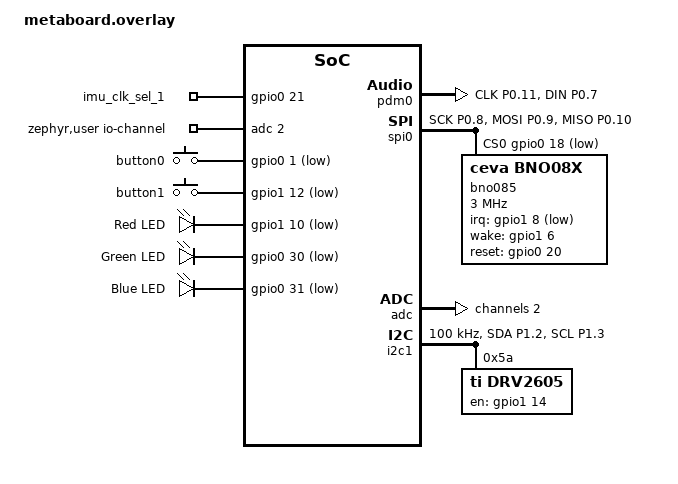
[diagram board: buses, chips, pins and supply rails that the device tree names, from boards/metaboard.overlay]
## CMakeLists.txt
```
#
# Copyright (c) 2018 Nordic Semiconductor
#
# SPDX-License-Identifier: LicenseRef-Nordic-5-Clause
#
cmake_minimum_required(VERSION 3.20.0)

list(APPEND ZEPHYR_EXTRA_MODULES
  ${CMAKE_CURRENT_SOURCE_DIR}/bno08x
  ${CMAKE_CURRENT_SOURCE_DIR}/drv2605
)

find_package(Zephyr REQUIRED HINTS $ENV{ZEPHYR_BASE})
project(metabow-firmware)

# NORDIC SDK APP START
target_sources(app PRIVATE
  src/main.c
  src/battery_monitor.c
  src/adpcm_codec.c
  src/drv2605.c
  src/haptic_cmd.c
)

# NORDIC SDK APP END
```

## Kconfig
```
#
# Copyright (c) 2018 Nordic Semiconductor
#
# SPDX-License-Identifier: LicenseRef-Nordic-5-Clause
#



source "Kconfig.zephyr"

menu "Nordic UART BLE GATT service sample"

config BT_NUS_THREAD_STACK_SIZE
	int "Thread stack size"
	default 1024
	help
	  Stack size used in each of the two threads

config BT_NUS_UART_BUFFER_SIZE
	int "UART payload buffer element size"
	default 40
	help
	  Size of the payload buffer in each RX and TX FIFO element

config BT_NUS_SECURITY_ENABLED
	bool "Enable security"
	default y
	select BT_SMP
	help
	  "Enable BLE security for the UART service"

config BT_NUS_UART_RX_WAIT_TIME
	int "Timeout for UART RX complete event"
	default 50000
	help
	  Wait for RX complete event time in microseconds

config BT_NUS_UART_ASYNC_ADAPTER
	bool "Enable UART async adapter"
	select SERIAL_SUPPORT_ASYNC
	help
	  Enables asynchronous adapter for UART drives that supports only
	  IRQ interface.

endmenu
```

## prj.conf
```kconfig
#
# Copyright (c) 2018 Nordic Semiconductor
#
# SPDX-License-Identifier: LicenseRef-Nordic-5-Clause
#

# Enable the UART driver
# CONFIG_UART_ASYNC_API=y
# CONFIG_NRFX_UARTE0=y
# CONFIG_SERIAL=y

# CONFIG_COMPILER_SAVE_TEMPS=y

# disable DCDC
CONFIG_BOARD_ENABLE_DCDC_APP=n
CONFIG_BOARD_ENABLE_DCDC_NET=n
CONFIG_BOARD_ENABLE_DCDC_HV=n

# Use internal 32k RC oscillator
CONFIG_CLOCK_CONTROL_NRF_K32SRC_RC=y



# I2C Bus & GPIO
CONFIG_I2C=y
CONFIG_I2C_NRFX=y
CONFIG_GPIO=y



CONFIG_SENSOR=y         # for testing on DK make this n
CONFIG_BNO08X=y         # for testing on DK make this n
CONFIG_PIPES=y          # for testing on DK make this n

# Audio
CONFIG_AUDIO=y          # for testing on DK make this n
CONFIG_AUDIO_DMIC=y     # for testing on DK make this n
CONFIG_AUDIO_DMIC_LOG_LEVEL_DBG=n

# Make sure printk is printing to the UART console
CONFIG_CONSOLE=y
CONFIG_UART_CONSOLE=y

CONFIG_THREAD_ANALYZER=n
CONFIG_THREAD_ANALYZER_USE_LOG=y
CONFIG_THREAD_ANALYZER_AUTO=y

CONFIG_LZ4=y
CONFIG_NEWLIB_LIBC=y

CONFIG_HEAP_MEM_POOL_SIZE=32768
CONFIG_BT_NUS_THREAD_STACK_SIZE=32768

CONFIG_BT=y
CONFIG_BT_RPMSG=y
CONFIG_BT_PERIPHERAL=y
CONFIG_BT_DEVICE_NAME="metabow"
CONFIG_BT_MAX_CONN=1
CONFIG_BT_MAX_PAIRED=1

CONFIG_BT_GAP_AUTO_UPDATE_CONN_PARAMS=n
#GATT_CLIENT needed for requesting ATT_MTU update
CONFIG_BT_GATT_CLIENT=y

# CONFIG_BT_CTLR_PHY_2M=y
# CONFIG_BT_CTLR_RX_BUFFERS=2
# CONFIG_BT_CTLR_DATA_LENGTH_MAX=170
# CONFIG_BT_BUF_ACL_RX_SIZE=176
# CONFIG_BT_BUF_ACL_TX_SIZE=176
# CONFIG_BT_L2CAP_TX_MTU=176
# CONFIG_BT_ATT_PREPARE_COUNT=2
# CONFIG_BT_L2CAP_TX_BUF_COUNT=10
# CONFIG_BT_L2CAP_DYNAMIC_CHANNEL=y
# CONFIG_BT_CONN_TX_MAX=10
# CONFIG_BT_BUF_ACL_TX_COUNT=10

# BLE Battery Service
CONFIG_BT_BAS=y
CONFIG_BT_BAS_LOG_LEVEL_DBG=y


CONFIG_BT_ATT_PREPARE_COUNT=4
CONFIG_BT_L2CAP_TX_BUF_COUNT=10
CONFIG_BT_L2CAP_TX_MTU=502
CONFIG_BT_L2CAP_DYNAMIC_CHANNEL=y
CONFIG_BT_CONN_TX_MAX=10
CONFIG_BT_BUF_ACL_TX_COUNT=10

CONFIG_BT_BUF_ACL_RX_SIZE=502
CONFIG_BT_BUF_ACL_TX_SIZE=502

#CONFIG_BT_CTLR_TX_PWR_DYNAMIC_CONTROL=y

# Enable the NUS service
CONFIG_BT_NUS=y

# Enable bonding
CONFIG_BT_SETTINGS=y
CONFIG_FLASH=y
CONFIG_FLASH_PAGE_LAYOUT=y
CONFIG_FLASH_MAP=y
CONFIG_NVS=y
CONFIG_SETTINGS=y

# Enable DK LED and Buttons library
CONFIG_DK_LIBRARY=y

CONFIG_MAIN_STACK_SIZE=65536
CONFIG_SYSTEM_WORKQUEUE_STACK_SIZE=32768

# Config logger
CONFIG_LOG=y
CONFIG_CBPRINTF_FP_SUPPORT=y
# CONFIG_LOG_DEFAULT_LEVEL=4
CONFIG_LOG_SPEED=y
CONFIG_LOG_MODE_IMMEDIATE=n
CONFIG_SEGGER_RTT_MODE_BLOCK_IF_FIFO_FULL=y
CONFIG_LOG_BLOCK_IN_THREAD=n
CONFIG_LOG_BUFFER_SIZE=32768
CONFIG_LOG_BACKEND_RTT_OUTPUT_BUFFER_SIZE=4096
CONFIG_LOG_PROCESS_THREAD_STACK_SIZE=32768
CONFIG_SEGGER_RTT_BUFFER_SIZE_UP=8192
CONFIG_USE_SEGGER_RTT=y
CONFIG_LOG_BACKEND_RTT=y
# CONFIG_LOG_BACKEND_UART=y
CONFIG_LOG_PRINTK=y

CONFIG_ASSERT=y

# ──────────────────────────────────────────────────────────────
# – secure boot & mcumgr OTA over BLE
# ──────────────────────────────────────────────────────────────
# Build MCUboot as the 1st-stage bootloader
CONFIG_BOOTLOADER_MCUBOOT=y


CONFIG_NCS_SAMPLE_MCUMGR_BT_OTA_DFU=y

# mcumgr core and commands
CONFIG_MCUMGR=y
CONFIG_NET_BUF=y
CONFIG_ZCBOR=y
CONFIG_CRC=y
CONFIG_STREAM_FLASH=y
CONFIG_IMG_MANAGER=y
CONFIG_MCUMGR_GRP_IMG=y
CONFIG_MCUMGR_GRP_OS=y
CONFIG_MCUMGR_GRP_STAT=y
CONFIG_MCUMGR_TRANSPORT_BT=y

# -----------------------------------------------------------------
# 
# -----------------------------------------------------------------
# Do NOT close the access port automatically -- Need to remove these for production environments
CONFIG_NRF_APPROTECT_LOCK=n
CONFIG_NRF_SECURE_APPROTECT_LOCK=n            # for the Secure domain
CONFIG_NRF_APPROTECT_USER_HANDLING=y
CONFIG_NRF_APPROTECT_USE_UICR=y




# ADC configuration
CONFIG_ADC=y
CONFIG_ADC_NRFX_SAADC=y

# Optional: For battery monitoring thread
CONFIG_THREAD_STACK_INFO=y
```

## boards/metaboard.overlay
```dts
&clock {
	hfclkaudio-frequency = <12288000>;
};

&pinctrl {
	pdm0_default_alt: pdm0_default_alt {
		group1 {
			psels = <NRF_PSEL(PDM_CLK, 0, 11)>,
				<NRF_PSEL(PDM_DIN, 0, 7)>;
		};
	};

	spi0_default: spi0_default {
		group1 {
			psels = <NRF_PSEL(SPIM_SCK, 0, 8)>,
		   <NRF_PSEL(SPIM_MOSI, 0, 9)>,
		   <NRF_PSEL(SPIM_MISO, 0, 10)>;
		};
	};
};


dmic_dev: &pdm0 {
	status = "okay";
	pinctrl-0 = <&pdm0_default_alt>;
	pinctrl-names = "default";
	clock-source = "ACLK";
	// queue-size = <192>;
};


&uart0 {
	status = "disabled";
};

&button0 {
	gpios = <&gpio0 1 (GPIO_ACTIVE_LOW | GPIO_PULL_UP)>;
};

&button1 {
	gpios = <&gpio1 12 (GPIO_ACTIVE_LOW | GPIO_PULL_UP)>;
};

&button2 {
	status = "disabled";
};

&button3 {
	status = "disabled";
};

&spi4 {
	status = "disabled";
};

&spi0 {
	status = "okay";
	cs-gpios = <&gpio0 18 GPIO_ACTIVE_LOW>;
	pinctrl-0 = <&spi0_default>;
	pinctrl-names = "default";
	max-frequency = <DT_FREQ_M(3)>;

	bno085: bno08x@0 {
		status = "okay";
		compatible = "ceva,bno08x";
		reg = <0>;
		irq-gpios = <&gpio1 8 (GPIO_ACTIVE_LOW | GPIO_PULL_UP)>;
		wake-gpios = <&gpio1 6 0>;
		reset-gpios = <&gpio0 20 0>;
		spi-max-frequency = <DT_FREQ_M(3)>;
	};
};

&qspi {
	status = "disabled";
};

&led0 {
	label = "Red LED";
	gpios = <&gpio1 10 (GPIO_ACTIVE_LOW)>;
};

&led1 {
	label = "Green LED";
	gpios = <&gpio0 30 (GPIO_ACTIVE_LOW)>;
};

&led2 {
	label = "Blue LED";
	gpios = <&gpio0 31 (GPIO_ACTIVE_LOW)>;
};

&led3 {
	status = "disabled";
};

&gpio_fwd {
	uart {
		status = "disabled";
		gpios = <&gpio1 0 0>;
	};
};



/ {
	leds {
		imu_clk_sel_1:imu_clk_sel_1 {
			label = "imu_clk_sel_1";
			gpios = <&gpio0 21 GPIO_PULL_DOWN>;
		};
	};
};


&adc {
    status = "okay";
};

/ {
    zephyr,user {
        io-channels = <&adc 2>;  // AIN2 (P0.06)
    };
};

&adc {
    #address-cells = <1>;
    #size-cells = <0>;

    channel@2 {
        reg = <2>;
        zephyr,gain = "ADC_GAIN_1_6";
        zephyr,reference = "ADC_REF_INTERNAL";
        zephyr,acquisition-time = <ADC_ACQ_TIME(ADC_ACQ_TIME_MICROSECONDS, 40)>;
        zephyr,input-positive = <NRF_SAADC_AIN2>;  // P0.06
        zephyr,resolution = <12>;
        zephyr,oversampling = <4>;
    };
};


&pinctrl {
    i2c1_default: i2c1_default {
        group1 {
            psels = <NRF_PSEL(TWIM_SDA, 1, 2)>,   /* P1.02 */
                    <NRF_PSEL(TWIM_SCL, 1, 3)>;   /* P1.03 */
        };
    };

    i2c1_sleep: i2c1_sleep {
        group1 {
            psels = <NRF_PSEL(TWIM_SDA, 1, 2)>,   /* P1.02 */
                    <NRF_PSEL(TWIM_SCL, 1, 3)>;   /* P1.03 */
            low-power-enable;
        };
    };
};

/* TWIM1 on P1.02 / P1.03 @ 400kHz */
&i2c1 {
    compatible = "nordic,nrf-twim";
    status = "okay";
    clock-frequency = <I2C_BITRATE_STANDARD>;
    pinctrl-0 = <&i2c1_default>;
    pinctrl-1 = <&i2c1_sleep>;
    pinctrl-names = "default", "sleep";

    /* DRV2605 at 0x5A with enable pin on P1.14 */
    haptic: drv2605@5a {
        compatible = "ti,drv2605";
        reg = <0x5a>;
        label = "DRV2605";
        en-gpios = <&gpio1 14 GPIO_ACTIVE_HIGH>;

        /* Optional tuning via DT (defaults chosen below): */
        ti,lra;                       /* comment out to use ERM */
        ti,rated-mv = <2000>;         /* rated voltage in mV (typical for LRA: 1.8-3.0V) */
        ti,od-clamp-mv = <3200>;      /* overdrive clamp in mV (typical: 2.5-3.6V) */
        ti,drive-time-tenth-ms = <25>;/* initial LRA half-period guess: 2.5ms */
        ti,auto-cal-time = <2>;       /* 0..3; 2 = 500–700ms */
        /* Note: If auto-cal fails, device may still work with default calibration.
         * Lower voltages if you see overdrive clamp errors (e.g., rated-mv = <1800>, od-clamp-mv = <2800>) */
    };
};
```

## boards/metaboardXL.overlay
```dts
/*
 * Copyright (c) 2021 Nordic Semiconductor ASA
 *
 * SPDX-License-Identifier: Apache-2.0
 */

&clock {
	hfclkaudio-frequency = <12288000>;
};

&pinctrl {
	pdm0_default_alt: pdm0_default_alt {
		group1 {
			psels = <NRF_PSEL(PDM_CLK, 0, 7)>,
				<NRF_PSEL(PDM_DIN, 0, 11)>;
		};
	};
};


dmic_dev: &pdm0 {
	status = "okay";
	pinctrl-0 = <&pdm0_default_alt>;
	pinctrl-names = "default";
	clock-source = "ACLK";
	// queue-size = <192>;
};

&uart0 {
	current-speed = <115200>;
};
```

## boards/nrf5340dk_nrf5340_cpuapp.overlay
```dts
/*
 * Copyright (c) 2021 Nordic Semiconductor ASA
 *
 * SPDX-License-Identifier: Apache-2.0
 */

&clock {
	hfclkaudio-frequency = <12288000>;
};

&pinctrl {
	pdm0_default_alt: pdm0_default_alt {
		group1 {
			psels = <NRF_PSEL(PDM_CLK, 0, 6)>,
				<NRF_PSEL(PDM_DIN, 0, 5)>;
		};
	};
};

&spi4 {
	cs-gpios = <&gpio1 9 GPIO_ACTIVE_LOW>;
	bno085: bno08x@0 {
		status = "okay";
		compatible = "ceva,bno08x";
		reg = <0>;
		irq-gpios = <&gpio1 8 0>;
		wake-gpios = <&gpio1 6 0>;
		reset-gpios = <&gpio1 7 0>;
		spi-min-frequency = <DT_FREQ_M(3)>;
		spi-max-frequency = <DT_FREQ_M(3)>;
	};

	max-frequency = <DT_FREQ_M(3)>;
};


dmic_dev: &pdm0 {
	status = "okay";
	pinctrl-0 = <&pdm0_default_alt>;
	pinctrl-names = "default";
	clock-source = "ACLK";
	// queue-size = <192>;
};

&uart0 {
	current-speed = <115200>;
};


&uart0 {
	current-speed = <921600>;
};
```

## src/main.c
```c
/*
 * Main application with ADPCM audio compression
 * Only necessary changes added to original main.c
 */

#include <zephyr/types.h>
#include <zephyr/kernel.h>
#include <zephyr/usb/usb_device.h>

#include <zephyr/device.h>
#include <zephyr/devicetree.h>
#include <soc.h>

#include <zephyr/audio/dmic.h>

#include <zephyr/drivers/sensor.h>

#include <zephyr/bluetooth/bluetooth.h>
#include <zephyr/bluetooth/uuid.h>
#include <zephyr/bluetooth/gatt.h>
#include <zephyr/bluetooth/hci.h>

#include <bluetooth/services/nus.h>

#include <zephyr/drivers/gpio.h>

#include <dk_buttons_and_leds.h>

#include <zephyr/settings/settings.h>

#include <stdio.h>

#include <zephyr/logging/log.h>

// needed to set gain
#include <nrfx_pdm.h>

// Include ADPCM codec instead of LZ4
#include "adpcm_codec.h"

// Include DRV2605 library
#include "drv2605.h"
#include "haptic_cmd.h"

// battery monitor includes
#include <zephyr/bluetooth/services/bas.h>
#include "battery_monitor.h"

#include <zephyr/mgmt/mcumgr/transport/smp_bt.h>

//for testing on DK make this 1 and for testing on PCB make it 0
#define TEST_DK_APP				0

// #define DEBUG_PRINT				0

#define LOG_MODULE_NAME metabow
LOG_MODULE_REGISTER(LOG_MODULE_NAME);

#define STACKSIZE CONFIG_BT_NUS_THREAD_STACK_SIZE
/* Lower number = higher priority; negative = cooperative (avoid long cooperatives) */
#define BLE_THREAD_PRIORITY 1
#define IMU_THREAD_PRIORITY 2

#define DEVICE_NAME CONFIG_BT_DEVICE_NAME
#define DEVICE_NAME_LEN	(sizeof(DEVICE_NAME) - 1)

#define RUN_STATUS_LED DK_LED1
#define DFU_STATUS_LED DK_LED2
#define RUN_LED_BLINK_INTERVAL 1000

#define CON_STATUS_LED DK_LED2

#define KEY_PASSKEY_ACCEPT DK_BTN1_MSK
#define KEY_PASSKEY_REJECT DK_BTN2_MSK

#define BATTERY_SERVICE_UPDATE_INTERVAL_MS 60000

//Audio

#define MAX_SAMPLE_RATE  16000
#define SAMPLE_BIT_WIDTH 16
#define BYTES_PER_SAMPLE sizeof(int16_t)
/* Milliseconds to wait for a block to be read. */
#define READ_TIMEOUT     500

/* Size of a block for N ms of audio data. This dictates our minimum latency */
#define BLOCK_SIZE(_sample_rate, _number_of_channels) \
	((BYTES_PER_SAMPLE * (90) * _number_of_channels))

/* Driver will allocate blocks from this slab to receive audio data into them.
 * Application, after getting a given block from the driver and processing its
 * data, needs to free that block.
 */
#define MAX_BLOCK_SIZE   BLOCK_SIZE(MAX_SAMPLE_RATE, 1)   /* 180 bytes */
#define BLOCK_COUNT      32


// Quaternion, Acceleration, Gyroscope, Magnetometer
// IMU payload layout (floats):
// [0..3]   Quaternion (I, J, K, R)
// [4..6]   Linear Acceleration (m/s^2, gravity removed)  <-- unchanged indices
// [7..9]   Gyroscope (rad/s)
// [10..12] Magnetometer (uT)
// [13..15] RAW Acceleration (m/s^2, gravity included)   <-- new
#define IMU_DATA_SIZE (16)*sizeof(float)
#define IMU_DATA_FLAG_SIZE 1
#define BATTERY_DATA_SIZE sizeof(float)  // Battery SoC as float

// ADPCM compression defines
#define PCM_SAMPLES_PER_BLOCK (MAX_BLOCK_SIZE / BYTES_PER_SAMPLE)     /* 90 */
#define ADPCM_BLOCK_SIZE      ((PCM_SAMPLES_PER_BLOCK + 1) / 2)       /* 45 */
#define BLE_BLOCK_SIZE        (ADPCM_BLOCK_SIZE + IMU_DATA_SIZE + IMU_DATA_FLAG_SIZE + BATTERY_DATA_SIZE) /* 102 */


int bno08x_get_raw_accel(const struct device *dev, struct sensor_value out[3]);

/* Separate slabs: one for DMIC PCM blocks, one for BLE packets */
K_MEM_SLAB_DEFINE(pcm_mem_slab, MAX_BLOCK_SIZE, BLOCK_COUNT, 4);
/* 96 packets ≈ 9.8 KB; safe on nRF5340 app RAM */
K_MEM_SLAB_DEFINE(ble_mem_slab, BLE_BLOCK_SIZE, 96, 4);

// ADPCM encoder state (global for continuous encoding)
static adpcm_encoder_state_t adpcm_encoder_state;

static const struct device *const dmic_dev = DEVICE_DT_GET(DT_NODELABEL(dmic_dev));

const struct device *const imu_dev = DEVICE_DT_GET(DT_NODELABEL(bno085));

#if !DT_NODE_EXISTS(DT_NODELABEL(bno085))
#error "bno08x not defined in device tree"
#endif

K_PIPE_DEFINE(imu_pipe, IMU_DATA_SIZE, 4);

// BLE

static K_SEM_DEFINE(ble_init_ok, 0, 1);
static K_SEM_DEFINE(imu_init_ok, 0, 1);
static K_SEM_DEFINE(dmic_data_available, 0, BLOCK_COUNT);

// Battery BLE update work
static struct k_work_delayable battery_ble_update_work;

static struct bt_conn *current_conn;
static struct bt_conn *auth_conn;

struct mem_slab_data_t {
	void *fifo_reserved;
	void *data;
	uint16_t len;
};

static K_FIFO_DEFINE(fifo_nus_tx_data);
static K_FIFO_DEFINE(fifo_nus_rx_data);

static const struct bt_data ad[] = {
	BT_DATA_BYTES(BT_DATA_FLAGS, (BT_LE_AD_GENERAL | BT_LE_AD_NO_BREDR)),
	BT_DATA(BT_DATA_NAME_COMPLETE, DEVICE_NAME, DEVICE_NAME_LEN),
};

static const struct bt_data sd[] = {
	BT_DATA_BYTES(BT_DATA_UUID128_ALL, BT_UUID_NUS_VAL),
};

static void connected(struct bt_conn *conn, uint8_t err)
{
    char addr[BT_ADDR_LE_STR_LEN];

    if (err) {
        LOG_ERR("Connection failed (err %u)", err);
        return;
    }

    bt_addr_le_to_str(bt_conn_get_dst(conn), addr, sizeof(addr));
    LOG_INF("Connected %s", addr);

    current_conn = bt_conn_ref(conn);

    dk_set_led_on(CON_STATUS_LED);
     // 🔧 Ensure encoder/decoder state sync at the moment we start streaming:
    adpcm_encoder_init(&adpcm_encoder_state);
	
    // Start battery level updates when connected
    k_work_reschedule(&battery_ble_update_work, K_NO_WAIT);
}

static void disconnected(struct bt_conn *conn, uint8_t reason)
{
	char addr[BT_ADDR_LE_STR_LEN];

	if (conn != current_conn) {
		return;
	}

	bt_addr_le_to_str(bt_conn_get_dst(conn), addr, sizeof(addr));
	LOG_INF("Disconnected: %s (reason %u)", addr, reason);

	if (auth_conn) {
		bt_conn_unref(auth_conn);
		auth_conn = NULL;
	}

	if (current_conn) {
		bt_conn_unref(current_conn);
		current_conn = NULL;
	}

	dk_set_led_off(CON_STATUS_LED);
	
	// Stop battery updates when disconnected
	k_work_cancel_delayable(&battery_ble_update_work);
}

BT_CONN_CB_DEFINE(conn_callbacks) = {
	.connected = connected,
	.disconnected = disconnected,
};

static void bt_receive_cb(struct bt_conn *conn, const uint8_t *const data,
			  uint16_t len)
{
	int err;
	char addr[BT_ADDR_LE_STR_LEN] = {0};

	bt_addr_le_to_str(bt_conn_get_dst(conn), addr, ARRAY_SIZE(addr));

	LOG_INF("Received data from: %s", addr);

	/* --- HAPTIC COMMANDS: try to handle and return if handled --- */
	char cmd[64];
	uint16_t n = MIN(len, sizeof(cmd)-1);
	memcpy(cmd, data, n);
	cmd[n] = 0;
	if (haptic_cmd_handle(cmd)) {
		return; /* handled (e.g., "V47", "BUZZ 200 180", "STOP", etc.) */
	}
	/* --- otherwise fall through to your existing FIFO forwarding --- */
	
	struct mem_slab_data_t *tx_data = k_malloc(sizeof(struct mem_slab_data_t));
	tx_data->len = len;
	tx_data->data = k_malloc(len);
	memcpy(tx_data->data, data, tx_data->len);
	k_fifo_put(&fifo_nus_tx_data, tx_data);
}

static struct bt_nus_cb nus_cb = {
	.received = bt_receive_cb,
};

void error(void)
{
	dk_set_leds_state(DK_ALL_LEDS_MSK, DK_NO_LEDS_MSK);

	while (true) {
		/* Spin for ever */
		k_sleep(K_MSEC(1000));
	}
}

void trigger_dmic_data_ready(void)
{
	k_sem_give(&dmic_data_available);
}

void dmic_thread(void)
{
	int ret;
	void *mem_block;
	uint32_t block_size;
	int32_t timeout;
	
	// Initialize ADPCM encoder at thread start
	adpcm_encoder_init(&adpcm_encoder_state);
	LOG_INF("ADPCM encoder initialized for audio compression");

	
	/* Acquire microphone audio */
	for (;;) {
		ret = dmic_read(dmic_dev, 0, &mem_block, &block_size, READ_TIMEOUT);
		if (ret < 0) {
			LOG_WRN("Audio buf read err: %d", ret);
			continue;
		}

		LOG_DBG("Audio block received: %d bytes (%d samples)", 
			block_size, block_size / BYTES_PER_SAMPLE);

		// Signal that data is ready
		trigger_dmic_data_ready();
		
		// Allocate BLE packet buffer (compressed audio + IMU + flag + battery)
		struct mem_slab_data_t *buf = k_malloc(sizeof(struct mem_slab_data_t));
		if(buf != NULL){
            ret = k_mem_slab_alloc(&ble_mem_slab, &buf->data, K_NO_WAIT);
			if (ret != 0) {
				LOG_ERR("Failed to allocate mem_slab: %d", ret);
                /* Drop this audio frame; keep DMIC flowing */
               /* Optional: count drops with a static counter and log occasionally */
				k_free(buf);
                goto free_pcm_and_continue;
			} else {
				uint8_t *ble_buffer = (uint8_t *)buf->data;
				
				// Compress audio using ADPCM (first part of packet)
				size_t compressed_size = adpcm_encode(
					(const int16_t *)mem_block,
					block_size / BYTES_PER_SAMPLE,  // Number of PCM samples
					ble_buffer,  // Output at start of BLE buffer
					&adpcm_encoder_state
				);
				
				LOG_DBG("ADPCM compression: %d PCM bytes -> %d ADPCM bytes", 
					block_size, compressed_size);
				
				buf->len = BLE_BLOCK_SIZE;  // Full packet size
				k_fifo_put(&fifo_nus_rx_data, buf);
			}
		}

		// Free the PCM memory block back to the DMIC slab
        free_pcm_and_continue:
        k_mem_slab_free(&pcm_mem_slab, &mem_block);
	}
}

void ble_write_thread(void)
{
    /* Don't go any further until BLE is initialized */
    k_sem_take(&ble_init_ok, K_FOREVER);
    int rc;
    
    LOG_INF("BLE write thread started with ADPCM compression");
    LOG_INF("Packet structure: [%d bytes ADPCM][%d bytes IMU][1 byte flag][%d bytes battery]",
            ADPCM_BLOCK_SIZE, IMU_DATA_SIZE, BATTERY_DATA_SIZE);
    LOG_INF("Total packet size: %d bytes (vs %d uncompressed)", 
            BLE_BLOCK_SIZE, MAX_BLOCK_SIZE + IMU_DATA_SIZE + IMU_DATA_FLAG_SIZE + BATTERY_DATA_SIZE);
    
    for (;;) {
        struct mem_slab_data_t *buf = k_fifo_get(&fifo_nus_rx_data, K_FOREVER);
        if(buf != NULL){
            void *buffer = buf->data;
            uint32_t size = BLE_BLOCK_SIZE;

            // Get IMU data
            size_t bytes_read;
            rc = k_pipe_get(&imu_pipe, (uint8_t*)buffer+ADPCM_BLOCK_SIZE, IMU_DATA_SIZE, &bytes_read,
                 IMU_DATA_SIZE, K_NO_WAIT);
            uint8_t imu_data_flag = 0;
            if((rc < 0) && (bytes_read == 0)){
                imu_data_flag = 0;
            }else if ((rc < 0) || (bytes_read < IMU_DATA_SIZE)) {
                LOG_ERR("Failed to get all IMU data from pipe, read: %d", bytes_read);
                imu_data_flag = 0;
            }else{
                imu_data_flag = 1;
            }
            
            // Set IMU data flag
            *((uint8_t*)buffer + ADPCM_BLOCK_SIZE + IMU_DATA_SIZE) = imu_data_flag;
            
            // Add battery SoC data
            float battery_soc = (float)battery_get_soc();  // Get current battery percentage
            memcpy((uint8_t*)buffer + ADPCM_BLOCK_SIZE + IMU_DATA_SIZE + IMU_DATA_FLAG_SIZE, 
                   &battery_soc, BATTERY_DATA_SIZE);
#if defined(DEBUG_PRINT)
            LOG_INF("Sending BLE data with Battery SoC: %.1f%%", battery_soc);
#endif
            size_t max_packet_size = 0;
            if (current_conn) {
                max_packet_size = bt_nus_get_mtu(current_conn);
            }
#if defined(DEBUG_PRINT)
            LOG_INF("BLE audio data buffer size: %d, MTU size: %d", size, (int)max_packet_size);
#endif
            // CRITICAL FIX: Only send if connected
            if (current_conn) {
                if (size > max_packet_size){
                    for (uint32_t sendIndex = 0; sendIndex < size; sendIndex += max_packet_size) {
                        uint32_t chunkLength = sendIndex + max_packet_size < size
                                ? max_packet_size
                                : (size - sendIndex);
                        if (bt_nus_send(current_conn, (uint8_t*)buffer + sendIndex, chunkLength)) {
                            // LOG_WRN("Failed to send audio data over BLE connection");
                        }
                    }
                }else{
                    if (bt_nus_send(current_conn, (uint8_t*)buffer, size)) {
                        // LOG_WRN("Failed to send audio data over BLE connection");
                    }
                }
            }
            // Free BLE packet buffer back to BLE slab
            k_mem_slab_free(&ble_mem_slab, &buffer);
            k_free(buf);
        }
    }
}

void imu_fetch_thread(void)
{
	k_sem_take(&imu_init_ok, K_FOREVER);
	// todo add out of tree sensor_channel include to define custom channels
	#define SENSOR_CHAN_ROTATION_VEC_IJKR 61
	struct sensor_value quat[4];
    struct sensor_value accel[3];      /* linear accel (existing behavior) */
    struct sensor_value accel_raw[3];  /* new: raw accel */
	struct sensor_value gyro[3];
	struct sensor_value mag[3];
	float imu_data[IMU_DATA_SIZE/sizeof(float)];
	size_t bytes_written;
	int rc;
	
	LOG_INF("IMU thread started");
	
	for (;;) {
		
		sensor_sample_fetch(imu_dev);

		rc = sensor_channel_get(imu_dev, SENSOR_CHAN_ROTATION_VEC_IJKR, quat);
		if (rc < 0){LOG_ERR("could not get ROTATION_VEC data: %d", rc);continue;}
        /* Unchanged: ACCEL_XYZ gives LINEAR accel (gravity removed) */
        rc = sensor_channel_get(imu_dev, SENSOR_CHAN_ACCEL_XYZ, accel);
		if (rc < 0){LOG_ERR("could not get ACCEL_XYZ data: %d", rc);continue;}
		/* RAW (gravity-included) accel via driver helper */
	    rc = bno08x_get_raw_accel(imu_dev, accel_raw);
	    if (rc < 0){LOG_ERR("could not get RAW accel: %d", rc); continue;}

		rc = sensor_channel_get(imu_dev, SENSOR_CHAN_GYRO_XYZ, gyro);
		if (rc < 0){LOG_ERR("could not get GYRO_XYZ data: %d", rc);continue;}
		rc = sensor_channel_get(imu_dev, SENSOR_CHAN_MAGN_XYZ, mag);
		if (rc < 0){LOG_ERR("could not get MAGN_XYZ data: %d", rc);continue;}

		// TBD should become a struct
		imu_data[0] = (float)sensor_value_to_double(&quat[0]);
		imu_data[1] = (float)sensor_value_to_double(&quat[1]);
		imu_data[2] = (float)sensor_value_to_double(&quat[2]);
		imu_data[3] = (float)sensor_value_to_double(&quat[3]);

		imu_data[4] = (float)sensor_value_to_double(&accel[0]);
		imu_data[5] = (float)sensor_value_to_double(&accel[1]);
		imu_data[6] = (float)sensor_value_to_double(&accel[2]);

		imu_data[7] = (float)sensor_value_to_double(&gyro[0]);
		imu_data[8] = (float)sensor_value_to_double(&gyro[1]);
		imu_data[9] = (float)sensor_value_to_double(&gyro[2]);

		imu_data[10] = (float)sensor_value_to_double(&mag[0]);
		imu_data[11] = (float)sensor_value_to_double(&mag[1]);
		imu_data[12] = (float)sensor_value_to_double(&mag[2]);

        /* Append RAW acceleration */
        imu_data[13] = (float)sensor_value_to_double(&accel_raw[0]);
        imu_data[14] = (float)sensor_value_to_double(&accel_raw[1]);
        imu_data[15] = (float)sensor_value_to_double(&accel_raw[2]);


		rc = k_pipe_put(&imu_pipe, imu_data, IMU_DATA_SIZE, &bytes_written, IMU_DATA_SIZE, K_FOREVER);
		if (rc < 0) {
            LOG_ERR("Failed to put IMU data into pipe: %d", rc);
        } else if (bytes_written < IMU_DATA_SIZE) {
            LOG_ERR("Only %d bytes written to IMU pipe", bytes_written);
        }
#if defined(DEBUG_PRINT)
		LOG_INF("Rotation: I: %f, J: %f, K: %f, R: %f", sensor_value_to_double(&quat[0]), sensor_value_to_double(&quat[1]), sensor_value_to_double(&quat[2]), sensor_value_to_double(&quat[3]));
		LOG_INF("Acceleration: X: %f, Y: %f, Z: %f", sensor_value_to_double(&accel[0]), sensor_value_to_double(&accel[1]), sensor_value_to_double(&accel[2]));
		LOG_INF("Raw Accel: X: %f, Y: %f, Z: %f", sensor_value_to_double(&accel_raw[0]), sensor_value_to_double(&accel_raw[1]), sensor_value_to_double(&accel_raw[2]));
		LOG_INF("Gyroscope: X: %f, Y: %f, Z: %f", sensor_value_to_double(&gyro[0]), sensor_value_to_double(&gyro[1]), sensor_value_to_double(&gyro[2]));
		LOG_INF("Magnetometer: X: %f, Y: %f, Z: %f", sensor_value_to_double(&mag[0]), sensor_value_to_double(&mag[1]), sensor_value_to_double(&mag[2]));
#endif
		// bt_nus_send(current_conn, (uint8_t*) quat, sizeof(quat));
		k_sleep(K_USEC(200));
	}
}

static void battery_ble_update_handler(struct k_work *work)
{
    uint8_t battery_level = battery_get_soc();
    float battery_voltage = battery_get_voltage();
    
    // Update BLE Battery Service
    int err = bt_bas_set_battery_level(battery_level);
    if (err) {
        LOG_WRN("Failed to update battery level: %d", err);
    } else {
        LOG_INF("BLE Battery Service updated: %d%% (%.2fV)", battery_level, battery_voltage);
    }
    
    // Reschedule for next update
    k_work_reschedule(&battery_ble_update_work, K_MSEC(BATTERY_SERVICE_UPDATE_INTERVAL_MS));
}

// --- add this block above main() ---
static void haptic_init_work_handler(struct k_work *work)
{
    int err = drv2605_init_from_dt(NULL);
    if (err == 0) {
        /* Do not auto-play any effect here to avoid load/IRQ contention */
        LOG_DBG("DRV2605 init successful (idle)");
    } else {
        LOG_ERR("DRV2605 init failed (delayed): %d", err);
    }
}
K_WORK_DELAYABLE_DEFINE(haptic_init_work, haptic_init_work_handler);

/* Dedicated low-priority workqueue for haptic operations */
static struct k_work_q haptic_wq;
K_THREAD_STACK_DEFINE(haptic_wq_stack, 1024);
// --- end block ---

int main(void)
{
	int blink_status = 0;
	int err = 0;
	int ret;

	LOG_INF("Starting Metabow with ADPCM audio compression");
	LOG_INF("Compression ratio: 4:1 (16-bit PCM to 4-bit ADPCM)");
	LOG_INF("Total packet size: %d bytes", BLE_BLOCK_SIZE);
	
#if (TEST_DK_APP == 0)
	if (!device_is_ready(dmic_dev)) {
		LOG_ERR("%s is not ready", dmic_dev->name);
		return 0;
	}

	if (!device_is_ready(imu_dev)) {
		LOG_ERR("Device %s is not ready\n", imu_dev->name);
		return 0;
	}

	k_sem_give(&imu_init_ok);
#endif


    struct pcm_stream_cfg stream = {
        .pcm_width = SAMPLE_BIT_WIDTH,
        .mem_slab  = &pcm_mem_slab,  /* DMIC must use 180-byte blocks */
    };

	struct dmic_cfg cfg = {
		.io = {
			/* These fields can be used to limit the PDM clock
			 * configurations that the driver is allowed to use
			 * to those supported by the microphone.
			 */
			.min_pdm_clk_freq = 1200000,
			.max_pdm_clk_freq = 3200000,
			.min_pdm_clk_dc   = 40,
			.max_pdm_clk_dc   = 60,
		},
		.streams = &stream,
		.channel = {
			.req_num_streams = 1,
		},
	};

	cfg.channel.req_num_chan = 1;
	cfg.channel.req_chan_map_lo = dmic_build_channel_map(0, 0, PDM_CHAN_LEFT);
	cfg.streams[0].pcm_rate = MAX_SAMPLE_RATE;
	cfg.streams[0].block_size = BLOCK_SIZE(cfg.streams[0].pcm_rate, cfg.channel.req_num_chan);

	LOG_INF("PCM output rate: %u, channels: %u",
		cfg.streams[0].pcm_rate, cfg.channel.req_num_chan);

	err = dmic_configure(dmic_dev, &cfg);
	if (err < 0) {
		LOG_ERR("Failed to configure the driver: %d", err);
		return err;
	}
	
	nrf_pdm_gain_set(NRF_PDM0, NRF_PDM_GAIN_MAXIMUM, NRF_PDM_GAIN_MAXIMUM);

	LOG_INF("DMIC thread started with ADPCM compression");

    
	// Initialize battery monitoring
	err = battery_monitor_init();
	if (err) {
		LOG_ERR("Battery monitor init failed (err: %d)", err);
		return 0;
	}

	err = dk_leds_init();
	if (err) {
		LOG_ERR("Cannot init LEDs (err: %d)", err);
	}

	/* Start dedicated low-priority haptic workqueue (higher number = lower priority) */
	k_work_queue_start(&haptic_wq, haptic_wq_stack,
		K_THREAD_STACK_SIZEOF(haptic_wq_stack), 10, NULL);
	k_thread_name_set(&haptic_wq.thread, "haptic_wq");

	// Delay haptic init to avoid interfering with IMU/BLE bring-up
	k_work_schedule_for_queue(&haptic_wq, &haptic_init_work, K_SECONDS(2));
		

	err = settings_subsys_init();
	if (err) {
		LOG_ERR("settings_subsys_init: %d", err);
		return err;
	}

	err = bt_enable(NULL);
	if (err) {
		error();
	}

	LOG_INF("Bluetooth initialized");

	k_sem_give(&ble_init_ok);

	if (IS_ENABLED(CONFIG_SETTINGS)) {
		settings_load();
	}

	err = bt_nus_init(&nus_cb);
	if (err) {
		LOG_ERR("Failed to initialize UART service (err: %d)", err);
		return 0;
	}

	err = bt_le_adv_start(BT_LE_ADV_CONN, ad, ARRAY_SIZE(ad), sd,
			      ARRAY_SIZE(sd));
	if (err) {
		LOG_ERR("Advertising failed to start (err %d)", err);
		return 0;
	}

	LOG_INF("Configuration complete. Starting operation with ADPCM compression.");
	
	// Initialize battery work handler
	k_work_init_delayable(&battery_ble_update_work, battery_ble_update_handler);

	err = dmic_trigger(dmic_dev, DMIC_TRIGGER_START);
	if (err < 0) {
		LOG_ERR("START trigger failed: %d", err);
		return err;
	}
	


	for (;;) {
		dk_set_led(RUN_STATUS_LED, (++blink_status) % 2);
		k_sleep(K_MSEC(RUN_LED_BLINK_INTERVAL));
	}
}

#if (TEST_DK_APP == 0)
K_THREAD_DEFINE(ble_write_thread_id, STACKSIZE, ble_write_thread, NULL, NULL,
		NULL, BLE_THREAD_PRIORITY, 0, 0);

K_THREAD_DEFINE(imu_fetch_thread_id, 4096, imu_fetch_thread, NULL, NULL,
		NULL, IMU_THREAD_PRIORITY, 0, 0);

K_THREAD_DEFINE(dmic_thread_id, 8192, dmic_thread, NULL, NULL,
		NULL, 0, 0, 0);
#endif
```

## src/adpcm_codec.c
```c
/*
 * ADPCM Audio Codec Implementation
 * IMA ADPCM algorithm for audio compression
 */

#include "adpcm_codec.h"
#include <string.h>

/* Clamp value between min and max */
static inline int32_t clamp(int32_t value, int32_t min, int32_t max) {
    if (value < min) return min;
    if (value > max) return max;
    return value;
}

/* Initialize encoder state */
void adpcm_encoder_init(adpcm_encoder_state_t *state) {
    state->predicted_sample = 0;
    state->step_index = 0;
}

/* Initialize decoder state */
void adpcm_decoder_init(adpcm_decoder_state_t *state) {
    state->predicted_sample = 0;
    state->step_index = 0;
}

/* Encode a single PCM sample to 4-bit ADPCM */
static uint8_t adpcm_encode_sample(int16_t sample, adpcm_encoder_state_t *state) {
    int32_t diff;
    int32_t step;
    uint8_t adpcm_sample = 0;
    
    /* Get current step size */
    step = adpcm_step_table[state->step_index];
    
    /* Calculate difference from predicted sample */
    diff = sample - state->predicted_sample;
    
    /* Set sign bit and get absolute difference */
    if (diff < 0) {
        adpcm_sample = 8;  /* Set sign bit */
        diff = -diff;
    }
    
    /* Quantize the difference */
    if (diff >= step) {
        adpcm_sample |= 4;
        diff -= step;
    }
    if (diff >= (step >> 1)) {
        adpcm_sample |= 2;
        diff -= (step >> 1);
    }
    if (diff >= (step >> 2)) {
        adpcm_sample |= 1;
    }
    
    /* Update predicted sample */
    diff = 0;
    if (adpcm_sample & 4) diff += step;
    if (adpcm_sample & 2) diff += (step >> 1);
    if (adpcm_sample & 1) diff += (step >> 2);
    diff += (step >> 3);
    
    if (adpcm_sample & 8) {
        state->predicted_sample -= diff;
    } else {
        state->predicted_sample += diff;
    }
    
    /* Clamp predicted sample to valid range */
    state->predicted_sample = clamp(state->predicted_sample, -32768, 32767);
    
    /* Update step index */
    state->step_index += adpcm_index_table[adpcm_sample];
    state->step_index = clamp(state->step_index, 0, 88);
    
    return adpcm_sample;
}

/* Decode a single 4-bit ADPCM sample to PCM */
static int16_t adpcm_decode_sample(uint8_t adpcm_sample, adpcm_decoder_state_t *state) {
    int32_t diff;
    int32_t step;
    
    /* Get current step size */
    step = adpcm_step_table[state->step_index];
    
    /* Calculate difference */
    diff = 0;
    if (adpcm_sample & 4) diff += step;
    if (adpcm_sample & 2) diff += (step >> 1);
    if (adpcm_sample & 1) diff += (step >> 2);
    diff += (step >> 3);
    
    /* Apply sign */
    if (adpcm_sample & 8) {
        state->predicted_sample -= diff;
    } else {
        state->predicted_sample += diff;
    }
    
    /* Clamp predicted sample to valid range */
    state->predicted_sample = clamp(state->predicted_sample, -32768, 32767);
    
    /* Update step index */
    state->step_index += adpcm_index_table[adpcm_sample & 0x0F];
    state->step_index = clamp(state->step_index, 0, 88);
    
    return state->predicted_sample;
}

/* Encode PCM samples to ADPCM */
size_t adpcm_encode(const int16_t *pcm_data, size_t pcm_samples,
                    uint8_t *adpcm_data, adpcm_encoder_state_t *state) {
    size_t adpcm_bytes = 0;
    size_t i;
    uint8_t nibble_high, nibble_low;
    
    /* Process samples in pairs */
    for (i = 0; i < pcm_samples; i += 2) {
        /* Encode first sample (high nibble) */
        nibble_high = adpcm_encode_sample(pcm_data[i], state);
        
        /* Encode second sample (low nibble) if available */
        if (i + 1 < pcm_samples) {
            nibble_low = adpcm_encode_sample(pcm_data[i + 1], state);
        } else {
            nibble_low = 0;  /* Pad with zero if odd number of samples */
        }
        
        /* Pack two 4-bit samples into one byte */
        adpcm_data[adpcm_bytes++] = (nibble_high << 4) | (nibble_low & 0x0F);
    }
    
    return adpcm_bytes;
}

/* Decode ADPCM to PCM samples */
size_t adpcm_decode(const uint8_t *adpcm_data, size_t adpcm_bytes,
                    int16_t *pcm_data, adpcm_decoder_state_t *state) {
    size_t pcm_samples = 0;
    size_t i;
    uint8_t byte;
    
    for (i = 0; i < adpcm_bytes; i++) {
        byte = adpcm_data[i];
        
        /* Decode high nibble */
        pcm_data[pcm_samples++] = adpcm_decode_sample((byte >> 4) & 0x0F, state);
        
        /* Decode low nibble */
        pcm_data[pcm_samples++] = adpcm_decode_sample(byte & 0x0F, state);
    }
    
    return pcm_samples;
}
```

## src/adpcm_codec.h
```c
/*
 * ADPCM Audio Codec for BLE Audio Streaming
 * Provides 4:1 compression ratio (16-bit PCM to 4-bit ADPCM)
 */

#ifndef _ADPCM_CODEC_H_
#define _ADPCM_CODEC_H_

#include <stdint.h>
#include <stddef.h>

/* ADPCM index table for step size adaptation */
static const int8_t adpcm_index_table[16] = {
    -1, -1, -1, -1, 2, 4, 6, 8,
    -1, -1, -1, -1, 2, 4, 6, 8
};

/* ADPCM step size table */
static const uint16_t adpcm_step_table[89] = {
    7, 8, 9, 10, 11, 12, 13, 14, 16, 17,
    19, 21, 23, 25, 28, 31, 34, 37, 41, 45,
    50, 55, 60, 66, 73, 80, 88, 97, 107, 118,
    130, 143, 157, 173, 190, 209, 230, 253, 279, 307,
    337, 371, 408, 449, 494, 544, 598, 658, 724, 796,
    876, 963, 1060, 1166, 1282, 1411, 1552, 1707, 1878, 2066,
    2272, 2499, 2749, 3024, 3327, 3660, 4026, 4428, 4871, 5358,
    5894, 6484, 7132, 7845, 8630, 9493, 10442, 11487, 12635, 13899,
    15289, 16818, 18500, 20350, 22385, 24623, 27086, 29794, 32767
};

/* ADPCM encoder state structure */
typedef struct {
    int16_t predicted_sample;  /* Predicted sample value */
    uint8_t step_index;       /* Current index into step table */
} adpcm_encoder_state_t;

/* ADPCM decoder state structure */
typedef struct {
    int16_t predicted_sample;  /* Predicted sample value */
    uint8_t step_index;       /* Current index into step table */
} adpcm_decoder_state_t;

/* Initialize encoder state */
void adpcm_encoder_init(adpcm_encoder_state_t *state);

/* Initialize decoder state */
void adpcm_decoder_init(adpcm_decoder_state_t *state);

/* Encode PCM samples to ADPCM
 * Input: pcm_data - 16-bit PCM samples
 *        pcm_samples - Number of PCM samples
 *        state - Encoder state
 * Output: adpcm_data - 4-bit ADPCM data (packed, 2 samples per byte)
 * Returns: Number of ADPCM bytes produced
 */
size_t adpcm_encode(const int16_t *pcm_data, size_t pcm_samples,
                    uint8_t *adpcm_data, adpcm_encoder_state_t *state);

/* Decode ADPCM to PCM samples
 * Input: adpcm_data - 4-bit ADPCM data (packed, 2 samples per byte)
 *        adpcm_bytes - Number of ADPCM bytes
 *        state - Decoder state
 * Output: pcm_data - 16-bit PCM samples
 * Returns: Number of PCM samples produced
 */
size_t adpcm_decode(const uint8_t *adpcm_data, size_t adpcm_bytes,
                    int16_t *pcm_data, adpcm_decoder_state_t *state);

/* Helper function to get compressed size for given PCM samples */
static inline size_t adpcm_get_compressed_size(size_t pcm_samples) {
    return (pcm_samples + 1) / 2;  /* 2 ADPCM samples per byte */
}

/* Helper function to get decompressed size for given ADPCM bytes */
static inline size_t adpcm_get_decompressed_samples(size_t adpcm_bytes) {
    return adpcm_bytes * 2;  /* 2 ADPCM samples per byte */
}

#endif /* _ADPCM_CODEC_H_ */
```

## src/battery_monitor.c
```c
#include "battery_monitor.h"
#include <zephyr/kernel.h>
#include <zephyr/drivers/adc.h>
#include <zephyr/logging/log.h>
#include <math.h>

LOG_MODULE_REGISTER(battery_monitor, LOG_LEVEL_INF);

// Battery lookup table entry
typedef struct {
    uint16_t adc_value;    // 12-bit ADC reading
    uint8_t soc_percent;   // State of charge percentage (0-100)
} battery_lut_entry_t;

// Placeholder lookup table - REPLACE WITH REAL DATA AFTER CHARACTERIZATION
static const battery_lut_entry_t battery_voltage_soc_lut[] = {
    {557, 100},  // 4.2V = 100% SoC
    {540, 95},   // ~4.1V = 95% SoC
    {525, 90},   // ~4.0V = 90% SoC
    {510, 80},   // ~3.88V = 80% SoC
    {495, 70},   // ~3.75V = 70% SoC
    {480, 60},   // ~3.63V = 60% SoC
    {465, 50},   // ~3.51V = 50% SoC
    {460, 40},   // ~3.39V = 40% SoC
    {445, 30},   // ~3.27V = 30% SoC
    {430, 20},   // ~3.16V = 20% SoC
    {420, 10},   // ~3.08V = 10% SoC
    {412, 5},    // ~3.02V = 5% SoC
    {408, 0}     // 3.0V = 0% SoC
};

#define BATTERY_LUT_SIZE (sizeof(battery_voltage_soc_lut) / sizeof(battery_voltage_soc_lut[0]))

// ADC related variables
static const struct device *adc_dev = NULL;
static struct adc_channel_cfg channel_cfg = {
    .gain = BATTERY_ADC_GAIN,
    .reference = BATTERY_ADC_REFERENCE,
    .acquisition_time = ADC_ACQ_TIME(ADC_ACQ_TIME_MICROSECONDS, BATTERY_ADC_ACQ_TIME_US),
    .channel_id = 2,  // AIN2
    .input_positive = SAADC_CH_PSELP_PSELP_AnalogInput2,
};

static struct adc_sequence sequence = {
    .channels = BIT(2),  // Channel 2
    .buffer = NULL,      // Will be set before read
    .buffer_size = 0,    // Will be set before read
    .resolution = BATTERY_ADC_RESOLUTION,
    .oversampling = 4,   // 4x oversampling
};

// Battery state variables
static uint16_t last_adc_value = 0;
static uint8_t current_soc = 0;
static float current_voltage = 0.0f;
static struct k_mutex battery_mutex;
static bool battery_initialized = false;

// Moving average filter
#define FILTER_SIZE 8
static uint16_t adc_filter_buffer[FILTER_SIZE];
static uint8_t filter_index = 0;
static bool filter_initialized = false;

// Work queue for battery monitoring
static struct k_work_delayable battery_work;

/**
 * @brief Convert ADC value to battery voltage
 * @param adc_value 12-bit ADC reading
 * @return Battery voltage in volts
 */
static float adc_to_voltage(uint16_t adc_value)
{
    // Calculate ADC voltage based on reference (0.6V) and gain (1/6)
    float adc_voltage = (adc_value * 0.6f * 6.0f) / 4095.0f;
    
    // Calculate actual battery voltage using divider ratio
    float battery_voltage = adc_voltage / VOLTAGE_DIVIDER_RATIO;
    
    return battery_voltage;
}

/**
 * @brief Convert ADC reading to State of Charge percentage using LUT
 * @param adc_value 12-bit ADC reading
 * @return SoC percentage (0-100), or 255 if error
 */
static uint8_t adc_to_soc(uint16_t adc_value)
{
    // Bounds checking
    if (adc_value < battery_voltage_soc_lut[BATTERY_LUT_SIZE - 1].adc_value) {
        return 0;  // Below minimum battery voltage
    }
    
    if (adc_value >= battery_voltage_soc_lut[0].adc_value) {
        return 100;  // At or above maximum battery voltage
    }
    
    // Linear interpolation between lookup table points
    for (int i = 0; i < BATTERY_LUT_SIZE - 1; i++) {
        if (adc_value >= battery_voltage_soc_lut[i + 1].adc_value) {
            uint16_t adc_high = battery_voltage_soc_lut[i].adc_value;
            uint16_t adc_low = battery_voltage_soc_lut[i + 1].adc_value;
            uint8_t soc_high = battery_voltage_soc_lut[i].soc_percent;
            uint8_t soc_low = battery_voltage_soc_lut[i + 1].soc_percent;
            
            // Linear interpolation
            uint8_t soc = soc_low + 
                ((adc_value - adc_low) * (soc_high - soc_low)) / 
                (adc_high - adc_low);
            return soc;
        }
    }
    
    return 255;  // Error case
}

/**
 * @brief Apply moving average filter to ADC value
 * @param new_value New ADC reading
 * @return Filtered ADC value
 */
static uint16_t apply_filter(uint16_t new_value)
{
    // Initialize filter buffer on first use
    if (!filter_initialized) {
        for (int i = 0; i < FILTER_SIZE; i++) {
            adc_filter_buffer[i] = new_value;
        }
        filter_initialized = true;
    }
    
    // Add new value to buffer
    adc_filter_buffer[filter_index] = new_value;
    filter_index = (filter_index + 1) % FILTER_SIZE;
    
    // Calculate average
    uint32_t sum = 0;
    for (int i = 0; i < FILTER_SIZE; i++) {
        sum += adc_filter_buffer[i];
    }
    
    return (uint16_t)(sum / FILTER_SIZE);
}

/**
 * @brief Read battery ADC and update values
 * @return 0 on success, negative errno on error
 */
static int battery_read_adc(void)
{
    int16_t adc_buffer;
    int ret;
    
    if (!battery_initialized || !adc_dev) {
        return -ENODEV;
    }
    
    sequence.buffer = &adc_buffer;
    sequence.buffer_size = sizeof(adc_buffer);
    
    ret = adc_read(adc_dev, &sequence);
    if (ret < 0) {
        LOG_ERR("ADC read failed: %d", ret);
        return ret;
    }
    
    // Apply filter
    uint16_t filtered_value = apply_filter((uint16_t)adc_buffer);
    
    k_mutex_lock(&battery_mutex, K_FOREVER);
    last_adc_value = filtered_value;
    current_voltage = adc_to_voltage(filtered_value);
    current_soc = adc_to_soc(filtered_value);
    k_mutex_unlock(&battery_mutex);
    
    LOG_INF("Battery: ADC=%d, Voltage=%.2fV, SoC=%d%%", 
            filtered_value, current_voltage, current_soc);
    
    return 0;
}

/**
 * @brief Battery monitoring work handler
 */
static void battery_work_handler(struct k_work *work)
{
    battery_read_adc();
    
    // Reschedule the work
    k_work_reschedule(&battery_work, K_MSEC(BATTERY_SAMPLE_INTERVAL_MS));
}

/**
 * @brief Initialize battery monitoring
 * @return 0 on success, negative errno on error
 */
int battery_monitor_init(void)
{
    int ret;
    
    if (battery_initialized) {
        LOG_WRN("Battery monitor already initialized");
        return 0;
    }
    
    k_mutex_init(&battery_mutex);
    
    // Get ADC device
    adc_dev = DEVICE_DT_GET(DT_NODELABEL(adc));
    if (!device_is_ready(adc_dev)) {
        LOG_ERR("ADC device not ready");
        return -ENODEV;
    }
    
    // Configure ADC channel
    ret = adc_channel_setup(adc_dev, &channel_cfg);
    if (ret < 0) {
        LOG_ERR("ADC channel setup failed: %d", ret);
        return ret;
    }
    
    // Initialize work item
    k_work_init_delayable(&battery_work, battery_work_handler);
    
    battery_initialized = true;
    
    // Perform initial reading after a short delay to ensure system stability
    k_work_reschedule(&battery_work, K_MSEC(1000));
    
    LOG_INF("Battery monitor initialized successfully");
    
    return 0;
}

/**
 * @brief Get current battery state of charge
 * @return SoC percentage (0-100)
 */
uint8_t battery_get_soc(void)
{
    uint8_t soc;
    if (!battery_initialized) {
        return 0;
    }
    k_mutex_lock(&battery_mutex, K_FOREVER);
    soc = current_soc;
    k_mutex_unlock(&battery_mutex);
    return soc;
}

/**
 * @brief Get current battery voltage
 * @return Battery voltage in volts
 */
float battery_get_voltage(void)
{
    float voltage;
    if (!battery_initialized) {
        return 0.0f;
    }
    k_mutex_lock(&battery_mutex, K_FOREVER);
    voltage = current_voltage;
    k_mutex_unlock(&battery_mutex);
    return voltage;
}

/**
 * @brief Get raw ADC value
 * @return 12-bit ADC value
 */
uint16_t battery_get_raw_adc(void)
{
    uint16_t adc;
    if (!battery_initialized) {
        return 0;
    }
    k_mutex_lock(&battery_mutex, K_FOREVER);
    adc = last_adc_value;
    k_mutex_unlock(&battery_mutex);
    return adc;
}

/**
 * @brief Trigger immediate battery reading
 * @return 0 on success, negative errno on error
 */
int battery_read_now(void)
{
    if (!battery_initialized) {
        return -ENODEV;
    }
    
    // Cancel any pending work and execute immediately
    k_work_cancel_delayable(&battery_work);
    return battery_read_adc();
}
```

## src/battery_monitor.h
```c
#ifndef BATTERY_MONITOR_H
#define BATTERY_MONITOR_H

#include <zephyr/types.h>
#include <zephyr/device.h>

// Battery monitoring configuration
#define BATTERY_ADC_RESOLUTION      12
#define BATTERY_ADC_GAIN           ADC_GAIN_1_6
#define BATTERY_ADC_REFERENCE      ADC_REF_INTERNAL
#define BATTERY_ADC_ACQ_TIME_US    40

// Voltage divider constants
#define VOLTAGE_DIVIDER_R1         1500000  // 1.5MΩ
#define VOLTAGE_DIVIDER_R2         220000   // 220kΩ
#define VOLTAGE_DIVIDER_RATIO      ((float)(VOLTAGE_DIVIDER_R2) / (float)(VOLTAGE_DIVIDER_R1 + VOLTAGE_DIVIDER_R2))

// Battery voltage range
#define BATTERY_VOLTAGE_MIN        3.0f     // 3.0V
#define BATTERY_VOLTAGE_MAX        4.2f     // 4.2V

// Thread configuration
#define BATTERY_THREAD_PRIORITY    5
#define BATTERY_THREAD_STACK_SIZE  1024
#define BATTERY_SAMPLE_INTERVAL_MS 30000    // 30 seconds
#define BATTERY_SERVICE_UPDATE_INTERVAL_MS 30000 // 30 seconds

// Function prototypes
int battery_monitor_init(void);
uint8_t battery_get_soc(void);
float battery_get_voltage(void);
uint16_t battery_get_raw_adc(void);
int battery_read_now(void);

#endif /* BATTERY_MONITOR_H */
```

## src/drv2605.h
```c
#pragma once
#include <zephyr/device.h>
#include <zephyr/kernel.h>
#include <zephyr/drivers/i2c.h>
#include <zephyr/drivers/gpio.h>

#ifdef __cplusplus
extern "C" {
#endif

enum drv2605_actuator {
    DRV2605_ACTUATOR_LRA = 0,
    DRV2605_ACTUATOR_ERM = 1,
};

struct drv2605_cfg {
    enum drv2605_actuator actuator; /* DRV2605_ACTUATOR_LRA or _ERM */
    uint16_t rated_mv;              /* mV, steady-state */
    uint16_t od_clamp_mv;           /* mV, overdrive clamp */
    uint8_t  drive_time_tenth_ms;   /* 0..31; if 0 for LRA we compute from lra_hz */
    uint8_t  auto_cal_time_sel;     /* 0..3; we override to longest in driver */
    uint16_t lra_hz;                /* NEW: typical 160–200 Hz; 0=use default 175 */
};


int drv2605_init_from_dt(const struct device *unused);
int drv2605_init_explicit(const struct i2c_dt_spec *i2c, const struct gpio_dt_spec *en_gpio,
                          const struct drv2605_cfg *cfg);

/* One-shot playback using ROM libraries */
int drv2605_select_library(uint8_t lib);            /* 1..5 ERM libs, 6 = LRA */
int drv2605_play_effect(uint8_t effect_id);         /* 1..123 (exact list in datasheet) */
int drv2605_stop(void);

/* RTP (real-time playback) drive: 0..255 unsigned in closed-loop */
int drv2605_rtp_begin(void);
int drv2605_rtp_write(uint8_t amp);
int drv2605_rtp_end(void);

/* Power gating */
int drv2605_enable(bool on);

/* Diagnostics */
int drv2605_auto_calibrate(void);                   /* runs auto-cal (blocking) */
int drv2605_diagnostics(void);                      /* returns 0 if pass, -EIO if fault */

#ifdef __cplusplus
}
#endif
```

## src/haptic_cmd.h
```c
#pragma once
#include <stdbool.h>

#ifdef __cplusplus
extern "C" {
#endif

/* Returns true if the string was a recognized haptic command. */
bool haptic_cmd_handle(const char *cmd);

#ifdef __cplusplus
}
#endif
```
